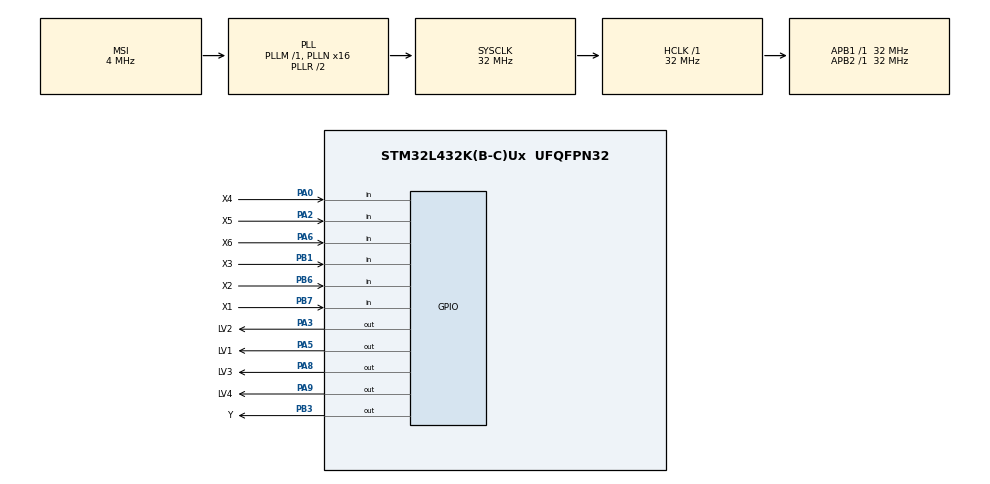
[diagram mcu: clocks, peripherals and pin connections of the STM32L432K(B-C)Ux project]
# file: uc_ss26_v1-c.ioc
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Mcu.Family=STM32L4
Mcu.Name=STM32L432K(B-C)Ux
Mcu.Package=UFQFPN32
NVIC.PriorityGroup=NVIC_PRIORITYGROUP_4
PA0.GPIO_Label=X4
PA0.GPIO_PuPd=GPIO_PULLUP
PA0.Signal=GPIO_Input
PA13\ (JTMS-SWDIO).GPIO_Label=SWDIO
PA13\ (JTMS-SWDIO).Mode=Serial_Wire
PA13\ (JTMS-SWDIO).Signal=SYS_JTMS-SWDIO
PA14\ (JTCK-SWCLK).GPIO_Label=SWCLK
PA14\ (JTCK-SWCLK).Mode=Serial_Wire
PA14\ (JTCK-SWCLK).Signal=SYS_JTCK-SWCLK
PA2.GPIO_Label=X5
PA2.GPIO_PuPd=GPIO_PULLUP
PA2.Signal=GPIO_Input
PA3.GPIO_Label=LV2
PA3.GPIO_ModeDefaultOutputPP=GPIO_MODE_OUTPUT_PP
PA3.PinState=GPIO_PIN_RESET
PA3.Signal=GPIO_Output
PA5.GPIO_Label=LV1
PA5.GPIO_ModeDefaultOutputPP=GPIO_MODE_OUTPUT_PP
PA5.PinState=GPIO_PIN_RESET
PA5.Signal=GPIO_Output
PA6.GPIO_Label=X6
PA6.GPIO_PuPd=GPIO_PULLUP
PA6.Signal=GPIO_Input
PA8.GPIO_Label=LV3
PA8.Signal=GPIO_Output
PA9.GPIO_Label=LV4
PA9.Signal=GPIO_Output
PB1.GPIO_Label=X3
PB1.GPIO_PuPd=GPIO_PULLUP
PB1.Signal=GPIO_Input
PB3\ (JTDO-TRACESWO).GPIO_Label=Y
PB3\ (JTDO-TRACESWO).Signal=GPIO_Output
PB6.GPIO_Label=X2
PB6.GPIO_PuPd=GPIO_PULLUP
PB6.Signal=GPIO_Input
PB7.GPIO_Label=X1
PB7.GPIO_PuPd=GPIO_PULLUP
PB7.Signal=GPIO_Input
ProjectManager.HeapSize=0x200
ProjectManager.StackSize=0x400
ProjectManager.TargetToolchain=STM32CubeIDE
RCC.AHBFreq_Value=32000000
RCC.APB1Freq_Value=32000000
RCC.APB1TimFreq_Value=32000000
RCC.APB2Freq_Value=32000000
RCC.APB2TimFreq_Value=32000000
RCC.CortexFreq_Value=32000000
RCC.HCLKFreq_Value=32000000
RCC.HSE_VALUE=8000000
RCC.HSI16_VALUE=16000000
RCC.HSI48_VALUE=48000000
RCC.HSI_VALUE=16000000
RCC.LSE_VALUE=32768
RCC.MSI_VALUE=4000000
RCC.PLLMUL=RCC_PLLMUL_4
RCC.PLLN=16
RCC.SYSCLKFreq_VALUE=32000000
RCC.SYSCLKSource=RCC_SYSCLKSOURCE_PLLCLK
RCC.VCOOutputFreq_Value=64000000
board=NUCLEO-L432KC

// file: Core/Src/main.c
/* USER CODE BEGIN Header */
/**
  ******************************************************************************
  * @file           : main.c
  * @brief          : Main program body
  ******************************************************************************
  * @attention
  *
  * <h2><center>&copy; Copyright (c) 2021 STMicroelectronics.
  * All rights reserved.</center></h2>
  *
  * This software component is licensed by ST under BSD 3-Clause license,
  * the "License"; You may not use this file except in compliance with the
  * License. You may obtain a copy of the License at:
  *                        opensource.org/licenses/BSD-3-Clause
  *
  ******************************************************************************
  */
/* USER CODE END Header */
#include "main.h"

void SystemClock_Config(void);
static void MX_GPIO_Init(void);

int main(void)
{

  /* MCU Configuration--------------------------------------------------------*/

  /* Reset of all peripherals, Initializes the Flash interface and the Systick. */
  HAL_Init();

  /* Configure the system clock */
  SystemClock_Config();

  /* Initialize all configured peripherals */
  MX_GPIO_Init();

  /* Infinite loop */
  /* USER CODE BEGIN WHILE */
  while (1)
  {

	  //Varaiabeln Definition und Deklaration

	  uint8_t y;
	  uint8_t x1 = (HAL_GPIO_ReadPin(X1_GPIO_Port, X1_Pin) == GPIO_PIN_RESET);
	  uint8_t x2 = (HAL_GPIO_ReadPin(X2_GPIO_Port, X2_Pin) == GPIO_PIN_RESET);
	  uint8_t x3 = (HAL_GPIO_ReadPin(X3_GPIO_Port, X3_Pin) == GPIO_PIN_RESET);
	  uint8_t x4 = (HAL_GPIO_ReadPin(X4_GPIO_Port, X4_Pin) == GPIO_PIN_RESET);
	  uint8_t x5 = (HAL_GPIO_ReadPin(X5_GPIO_Port, X5_Pin) == GPIO_PIN_RESET);
	  uint8_t x6 = (HAL_GPIO_ReadPin(X6_GPIO_Port, X6_Pin) == GPIO_PIN_RESET);

	  //SW3 für die LEDs X1 - X4

	  //LED 1
	  HAL_GPIO_WritePin(LV1_GPIO_Port, LV1_Pin, x1 ? GPIO_PIN_SET : GPIO_PIN_RESET);
	  //LED 2
	  HAL_GPIO_WritePin(LV2_GPIO_Port, LV2_Pin, x2 ? GPIO_PIN_SET : GPIO_PIN_RESET);
	  //LED 3
	  HAL_GPIO_WritePin(LV3_GPIO_Port, LV3_Pin, x3 ? GPIO_PIN_SET : GPIO_PIN_RESET);
	  //LED 4
	  HAL_GPIO_WritePin(LV4_GPIO_Port, LV4_Pin, x4 ? GPIO_PIN_SET : GPIO_PIN_RESET);

	  //Logik Fälle Tabelle 5 (Y LED Steuern)

	  if (x5 == 0 && x6 == 0) {
    y = 0;
}
else if (x5 == 0 && x6 == 1 && (x1 == 1 || x2 == 1 || x3 == 1 || x4 == 1)) {
    y = 1;
}
else if (x1 == 0 && x2 == 0 && x3 == 0 && x4 == 0 && x5 == 0 && x6 == 1) {
    y = 0;
}
else if (x1 == 1 && x2 == 1 && x3 == 1 && x4 == 1 && x5 == 1 && x6 == 0) {
    y = 1;
}
else if (x5 == 1 && x6 == 0 && (x1 == 0 || x2 == 0 || x3 == 0 || x4 == 0)) {
    y = 0;
}
else if (x5 == 1 && x6 == 1) {
    if (x1 != x4) {
        y = 1;
    } else {
        y = 0;
    }
}

	  HAL_GPIO_WritePin(Y_GPIO_Port, Y_Pin, y ? GPIO_PIN_SET : GPIO_PIN_RESET);

    /* USER CODE END WHILE */

  }
}

void SystemClock_Config(void)
{
  RCC_OscInitTypeDef RCC_OscInitStruct = {0};
  RCC_ClkInitTypeDef RCC_ClkInitStruct = {0};

  /** Configure the main internal regulator output voltage
  */
  if (HAL_PWREx_ControlVoltageScaling(PWR_REGULATOR_VOLTAGE_SCALE1) != HAL_OK)
  {
    Error_Handler();
  }

  /** Initializes the RCC Oscillators according to the specified parameters
  * in the RCC_OscInitTypeDef structure.
  */
  RCC_OscInitStruct.OscillatorType = RCC_OSCILLATORTYPE_MSI;
  RCC_OscInitStruct.MSIState = RCC_MSI_ON;
  RCC_OscInitStruct.MSICalibrationValue = 0;
  RCC_OscInitStruct.MSIClockRange = RCC_MSIRANGE_6;
  RCC_OscInitStruct.PLL.PLLState = RCC_PLL_ON;
  RCC_OscInitStruct.PLL.PLLSource = RCC_PLLSOURCE_MSI;
  RCC_OscInitStruct.PLL.PLLM = 1;
  RCC_OscInitStruct.PLL.PLLN = 16;
  RCC_OscInitStruct.PLL.PLLP = RCC_PLLP_DIV7;
  RCC_OscInitStruct.PLL.PLLQ = RCC_PLLQ_DIV2;
  RCC_OscInitStruct.PLL.PLLR = RCC_PLLR_DIV2;
  if (HAL_RCC_OscConfig(&RCC_OscInitStruct) != HAL_OK)
  {
    Error_Handler();
  }

  /** Initializes the CPU, AHB and APB buses clocks
  */
  RCC_ClkInitStruct.ClockType = RCC_CLOCKTYPE_HCLK|RCC_CLOCKTYPE_SYSCLK
                              |RCC_CLOCKTYPE_PCLK1|RCC_CLOCKTYPE_PCLK2;
  RCC_ClkInitStruct.SYSCLKSource = RCC_SYSCLKSOURCE_PLLCLK;
  RCC_ClkInitStruct.AHBCLKDivider = RCC_SYSCLK_DIV1;
  RCC_ClkInitStruct.APB1CLKDivider = RCC_HCLK_DIV1;
  RCC_ClkInitStruct.APB2CLKDivider = RCC_HCLK_DIV1;

  if (HAL_RCC_ClockConfig(&RCC_ClkInitStruct, FLASH_LATENCY_1) != HAL_OK)
  {
    Error_Handler();
  }
}

static void MX_GPIO_Init(void)
{
  GPIO_InitTypeDef GPIO_InitStruct = {0};

  /* GPIO Ports Clock Enable */
  __HAL_RCC_GPIOA_CLK_ENABLE();
  __HAL_RCC_GPIOB_CLK_ENABLE();

  /*Configure GPIO pin Output Level */
  HAL_GPIO_WritePin(GPIOA, LV2_Pin|LV1_Pin|LV3_Pin|LV4_Pin, GPIO_PIN_RESET);

  /*Configure GPIO pin Output Level */
  HAL_GPIO_WritePin(Y_GPIO_Port, Y_Pin, GPIO_PIN_RESET);

  /*Configure GPIO pins : X4_Pin X5_Pin X6_Pin */
  GPIO_InitStruct.Pin = X4_Pin|X5_Pin|X6_Pin;
  GPIO_InitStruct.Mode = GPIO_MODE_INPUT;
  GPIO_InitStruct.Pull = GPIO_PULLUP;
  HAL_GPIO_Init(GPIOA, &GPIO_InitStruct);

  /*Configure GPIO pins : LV2_Pin LV1_Pin LV3_Pin LV4_Pin */
  GPIO_InitStruct.Pin = LV2_Pin|LV1_Pin|LV3_Pin|LV4_Pin;
  GPIO_InitStruct.Mode = GPIO_MODE_OUTPUT_PP;
  GPIO_InitStruct.Pull = GPIO_NOPULL;
  GPIO_InitStruct.Speed = GPIO_SPEED_FREQ_LOW;
  HAL_GPIO_Init(GPIOA, &GPIO_InitStruct);

  /*Configure GPIO pins : X3_Pin X2_Pin X1_Pin */
  GPIO_InitStruct.Pin = X3_Pin|X2_Pin|X1_Pin;
  GPIO_InitStruct.Mode = GPIO_MODE_INPUT;
  GPIO_InitStruct.Pull = GPIO_PULLUP;
  HAL_GPIO_Init(GPIOB, &GPIO_InitStruct);

  /*Configure GPIO pin : Y_Pin */
  GPIO_InitStruct.Pin = Y_Pin;
  GPIO_InitStruct.Mode = GPIO_MODE_OUTPUT_PP;
  GPIO_InitStruct.Pull = GPIO_NOPULL;
  GPIO_InitStruct.Speed = GPIO_SPEED_FREQ_LOW;
  HAL_GPIO_Init(Y_GPIO_Port, &GPIO_InitStruct);

}

void Error_Handler(void)
{
  __disable_irq();
  while (1)
  {
  }
}
